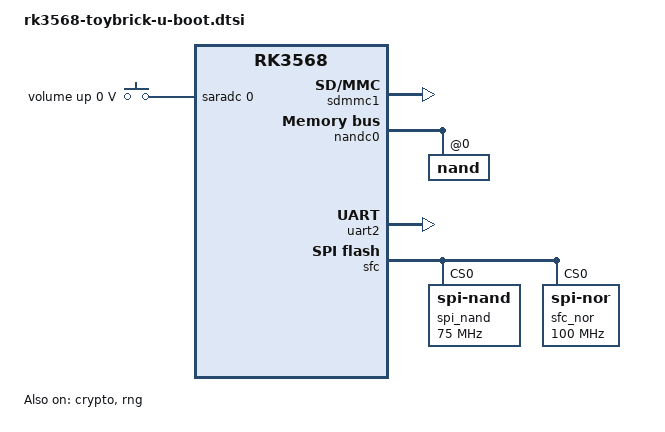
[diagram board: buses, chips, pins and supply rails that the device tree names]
// SPDX-License-Identifier: GPL-2.0+
/*
 * Weizhao Ouyang <weizhao.ouyang@arm.com>
 */
#include "rk356x-u-boot.dtsi"
#include <dt-bindings/input/input.h>

/ {
	chosen {
		stdout-path = &uart2;
	};

	crypto: crypto@fe380000 {
		compatible = "rockchip,rk3568-crypto";
		reg = <0x0 0xfe380000 0x0 0x4000>;
		clocks = <&cru CLK_CRYPTO_NS_CORE>, <&cru CLK_CRYPTO_NS_PKA>;
		clock-names = "sclk_crypto", "apkclk_crypto";
		clock-frequency = <150000000>, <300000000>;
		status = "okay";
	};

	rng: rng@fe388000 {
		compatible = "rockchip,cryptov2-rng";
		reg = <0x0 0xfe388000 0x0 0x2000>;
		status = "okay";
	};

	adc-keys {
		compatible = "adc-keys";
		io-channels = <&saradc 0>;
		io-channel-names = "buttons";
		keyup-threshold-microvolt = <1800000>;
		u-boot,dm-spl;
		status = "okay";

		volumeup-key {
			u-boot,dm-spl;
			linux,code = <KEY_VOLUMEUP>;
			label = "volume up";
			press-threshold-microvolt = <9>;
		};
	};

};

&sdmmc1 {
	status = "okay";
};

/*
&sdmmc2 {
	max-frequency = <150000000>;
	supports-sdio;
	bus-width = <4>;
	disable-wp;
	cap-sd-highspeed;
	cap-sdio-irq;
	keep-power-in-suspend;
	mmc-pwrseq = <&sdio_pwrseq>;
	non-removable;
	pinctrl-names = "default";
	pinctrl-0 = <&sdmmc2m0_bus4 &sdmmc2m0_cmd &sdmmc2m0_clk>;
	sd-uhs-sdr104;
	status = "disabled";
};
*/

&nandc0 {
	status = "okay";
	#address-cells = <1>;
	#size-cells = <0>;

	nand@0 {
		reg = <0>;
		nand-ecc-mode = "hw";
		nand-ecc-strength = <16>;
		nand-ecc-step-size = <1024>;
	};
};

&uart2 {
	clock-frequency = <24000000>;
	bootph-all;
	status = "okay";
};

&sdhci {
	//cap-mmc-highspeed;
	//mmc-ddr-1_8v;
	mmc-hs200-1_8v;
	//mmc-hs400-1_8v;
	//mmc-hs400-enhanced-strobe;
};

&sfc {
	bootph-pre-ram;
	u-boot,spl-sfc-no-dma;
	status = "okay";
	#address-cells = <1>;
	#size-cells = <0>;

	spi_nand: flash@0 {
		bootph-pre-ram;
		compatible = "spi-nand";
		reg = <0>;
		spi-tx-bus-width = <1>;
		spi-rx-bus-width = <4>;
		spi-max-frequency = <75000000>;
	};

	spi_nor: flash@1 {
		bootph-pre-ram;
		compatible = "jedec,spi-nor";
		label = "sfc_nor";
		reg = <0>;
		spi-tx-bus-width = <1>;
		spi-rx-bus-width = <4>;
		spi-max-frequency = <100000000>;
	};
};

&pinctrl {
	status = "okay";
};

&crypto {
	status = "okay";
};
